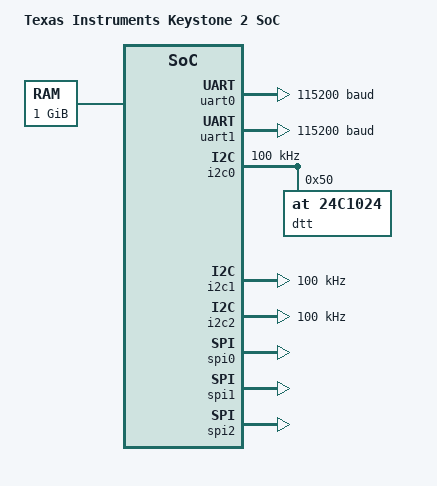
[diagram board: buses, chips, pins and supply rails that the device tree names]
/*
 * Copyright 2013 Texas Instruments, Inc.
 *
 * This program is free software; you can redistribute it and/or modify
 * it under the terms of the GNU General Public License version 2 as
 * published by the Free Software Foundation.
 */

/dts-v1/;
#include <dt-bindings/interrupt-controller/arm-gic.h>

#include "skeleton.dtsi"

/ {
	model = "Texas Instruments Keystone 2 SoC";
	compatible =  "ti,keystone-evm";
	#address-cells = <2>;
	#size-cells = <2>;
	interrupt-parent = <&gic>;

	aliases {
		serial0	= &uart0;
	};

	memory {
		reg = <0x00000000 0x80000000 0x00000000 0x40000000>;
	};

	cpus {
		#address-cells = <1>;
		#size-cells = <0>;

		interrupt-parent = <&gic>;

		cpu@0 {
			compatible = "arm,cortex-a15";
			device_type = "cpu";
			reg = <0>;
		};

		cpu@1 {
			compatible = "arm,cortex-a15";
			device_type = "cpu";
			reg = <1>;
		};

		cpu@2 {
			compatible = "arm,cortex-a15";
			device_type = "cpu";
			reg = <2>;
		};

		cpu@3 {
			compatible = "arm,cortex-a15";
			device_type = "cpu";
			reg = <3>;
		};
	};

	gic: interrupt-controller {
		compatible = "arm,cortex-a15-gic";
		#interrupt-cells = <3>;
		#size-cells = <0>;
		#address-cells = <1>;
		interrupt-controller;
		reg = <0x0 0x02561000 0x0 0x1000>,
		      <0x0 0x02562000 0x0 0x2000>;
	};

	timer {
		compatible = "arm,armv7-timer";
		interrupts =
			<GIC_PPI 13
				(GIC_CPU_MASK_SIMPLE(4) | IRQ_TYPE_LEVEL_LOW)>,
			<GIC_PPI 14
				(GIC_CPU_MASK_SIMPLE(4) | IRQ_TYPE_LEVEL_LOW)>,
			<GIC_PPI 11
				(GIC_CPU_MASK_SIMPLE(4) | IRQ_TYPE_LEVEL_LOW)>,
			<GIC_PPI 10
				(GIC_CPU_MASK_SIMPLE(4) | IRQ_TYPE_LEVEL_LOW)>;
	};

	pmu {
		compatible = "arm,cortex-a15-pmu";
		interrupts = <GIC_SPI 20 IRQ_TYPE_EDGE_RISING>,
			     <GIC_SPI 21 IRQ_TYPE_EDGE_RISING>,
			     <GIC_SPI 22 IRQ_TYPE_EDGE_RISING>,
			     <GIC_SPI 23 IRQ_TYPE_EDGE_RISING>;
	};

	soc {
		#address-cells = <1>;
		#size-cells = <1>;
		compatible = "ti,keystone","simple-bus";
		interrupt-parent = <&gic>;
		ranges = <0x0 0x0 0x0 0xc0000000>;

		rstctrl: reset-controller {
			compatible = "ti,keystone-reset";
			reg = <0x023100e8 4>;	/* pll reset control reg */
		};

		/include/ "keystone-clocks.dtsi"

		uart0: serial@02530c00 {
			compatible = "ns16550a";
			current-speed = <115200>;
			reg-shift = <2>;
			reg-io-width = <4>;
			reg = <0x02530c00 0x100>;
			clocks	= <&clkuart0>;
			interrupts = <GIC_SPI 277 IRQ_TYPE_EDGE_RISING>;
		};

		uart1:	serial@02531000 {
			compatible = "ns16550a";
			current-speed = <115200>;
			reg-shift = <2>;
			reg-io-width = <4>;
			reg = <0x02531000 0x100>;
			clocks	= <&clkuart1>;
			interrupts = <GIC_SPI 280 IRQ_TYPE_EDGE_RISING>;
		};

		i2c0: i2c@2530000 {
			compatible = "ti,davinci-i2c";
			reg = <0x02530000 0x400>;
			clock-frequency = <100000>;
			clocks = <&clki2c>;
			interrupts = <GIC_SPI 283 IRQ_TYPE_EDGE_RISING>;
			#address-cells = <1>;
			#size-cells = <0>;

			dtt@50 {
				compatible = "at,24c1024";
				reg = <0x50>;
			};
		};

		i2c1: i2c@2530400 {
			compatible = "ti,davinci-i2c";
			reg = <0x02530400 0x400>;
			clock-frequency = <100000>;
			clocks = <&clki2c>;
			interrupts = <GIC_SPI 286 IRQ_TYPE_EDGE_RISING>;
		};

		i2c2: i2c@2530800 {
			compatible = "ti,davinci-i2c";
			reg = <0x02530800 0x400>;
			clock-frequency = <100000>;
			clocks = <&clki2c>;
			interrupts = <GIC_SPI 289 IRQ_TYPE_EDGE_RISING>;
		};

		spi0: spi@21000400 {
			compatible = "ti,dm6441-spi";
			reg = <0x21000400 0x200>;
			num-cs = <4>;
			ti,davinci-spi-intr-line = <0>;
			interrupts = <GIC_SPI 292 IRQ_TYPE_EDGE_RISING>;
			clocks = <&clkspi>;
		};

		spi1: spi@21000600 {
			compatible = "ti,dm6441-spi";
			reg = <0x21000600 0x200>;
			num-cs = <4>;
			ti,davinci-spi-intr-line = <0>;
			interrupts = <GIC_SPI 296 IRQ_TYPE_EDGE_RISING>;
			clocks = <&clkspi>;
		};

		spi2: spi@21000800 {
			compatible = "ti,dm6441-spi";
			reg = <0x21000800 0x200>;
			num-cs = <4>;
			ti,davinci-spi-intr-line = <0>;
			interrupts = <GIC_SPI 300 IRQ_TYPE_EDGE_RISING>;
			clocks = <&clkspi>;
		};
	};
};
